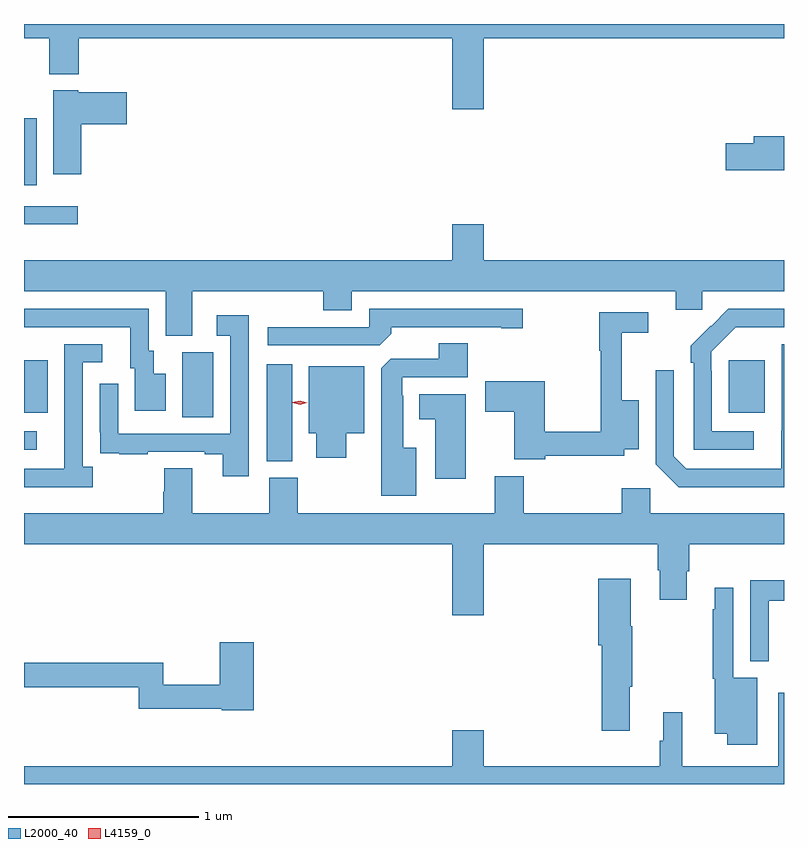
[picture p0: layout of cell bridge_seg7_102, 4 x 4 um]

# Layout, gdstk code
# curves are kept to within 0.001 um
import gdstk
lib = gdstk.Library(unit=1e-6, precision=1e-09)
def R(c, l, rs):  # rectangles x0, y0, x1, y1
    for r in rs: c.add(gdstk.rectangle(r[:2], r[2:], *l))
def P(c, l, *ps):  # polygons
    for p in ps: c.add(gdstk.Polygon(p, *l))
L2000_40 = (2000, 40)
L4159_0 = (4159, 0)

bridge_seg7_102 = lib.new_cell('bridge_seg7_102')
R(bridge_seg7_102, L2000_40, [(1063.13,1021.033,1063.264,1021.543), (1061.853,1021.095,1061.92,1021.191), (1062.686,1021.264,1062.85,1021.608), (1061.853,1021.289,1061.977,1021.564), (1065.563,1021.289,1065.751,1021.564), (1061.853,1022.28,1062.136,1022.376), (1061.853,1022.486,1061.92,1022.839)])
P(bridge_seg7_102, L2000_40, [(1064.272,1023.26),(1065.853,1023.26),(1065.853,1023.335),(1061.853,1023.335),(1061.853,1023.26),(1061.987,1023.26),(1061.987,1023.071),(1062.14,1023.071),(1062.14,1023.26),(1064.108,1023.26),(1064.108,1022.886),(1064.272,1022.886)],
  [(1062.155,1022.807),(1062.394,1022.807),(1062.394,1022.977),(1062.138,1022.977),(1062.138,1022.986),(1062.008,1022.986),(1062.008,1022.544),(1062.155,1022.544)],
  [(1065.853,1022.744),(1065.695,1022.744),(1065.695,1022.708),(1065.546,1022.708),(1065.546,1022.566),(1065.853,1022.566)],
  [(1062.739,1021.928),(1063.427,1021.928),(1063.427,1021.829),(1063.579,1021.829),(1063.579,1021.928),(1065.284,1021.928),(1065.284,1021.83),(1065.423,1021.83),(1065.423,1021.928),(1065.853,1021.928),(1065.853,1022.092),(1064.272,1022.092),(1064.272,1022.281),(1064.108,1022.281),(1064.108,1022.092),(1061.853,1022.092),(1061.853,1021.928),(1062.599,1021.928),(1062.599,1021.693),(1062.739,1021.693)],
  [(1062.598,1021.495),(1062.535,1021.495),(1062.535,1021.614),(1062.51,1021.614),(1062.51,1021.836),(1061.853,1021.836),(1061.853,1021.74),(1062.413,1021.74),(1062.413,1021.524),(1062.437,1021.524),(1062.437,1021.299),(1062.598,1021.299)],
  [(1065.694,1021.191),(1065.474,1021.191),(1065.474,1021.511),(1065.471,1021.511),(1065.471,1021.611),(1065.6,1021.74),(1065.853,1021.74),(1065.853,1021.836),(1065.56,1021.836),(1065.363,1021.641),(1065.363,1021.553),(1065.378,1021.553),(1065.378,1021.095),(1065.694,1021.095)],
  [(1063.787,1021.706),(1063.787,1021.74),(1064.366,1021.74),(1064.366,1021.735),(1064.479,1021.735),(1064.479,1021.836),(1063.671,1021.836),(1063.671,1021.74),(1063.137,1021.74),(1063.137,1021.644),(1063.725,1021.644)],
  [(1064.597,1021.062),(1065.012,1021.062),(1065.012,1021.097),(1065.088,1021.097),(1065.088,1021.354),(1064.999,1021.354),(1064.999,1021.71),(1065.139,1021.71),(1065.139,1021.818),(1064.881,1021.818),(1064.881,1021.615),(1064.889,1021.615),(1064.889,1021.19),(1064.595,1021.19),(1064.595,1021.456),(1064.28,1021.456),(1064.28,1021.294),(1064.432,1021.294),(1064.432,1021.043),(1064.597,1021.043)],
  [(1063.035,1021.801),(1062.867,1021.801),(1062.867,1021.695),(1062.939,1021.695),(1062.939,1021.179),(1062.348,1021.179),(1062.348,1021.441),(1062.252,1021.441),(1062.252,1021.186),(1062.253,1021.186),(1062.253,1021.077),(1062.355,1021.077),(1062.355,1021.071),(1062.503,1021.071),(1062.503,1021.083),(1062.803,1021.083),(1062.803,1021.071),(1062.899,1021.071),(1062.899,1020.954),(1063.035,1020.954)],
  [(1063.918,1021.105),(1063.849,1021.105),(1063.849,1021.379),(1063.845,1021.379),(1063.845,1021.476),(1064.189,1021.476),(1064.189,1021.655),(1064.036,1021.655),(1064.036,1021.572),(1063.782,1021.572),(1063.733,1021.523),(1063.733,1020.851),(1063.918,1020.851)],
  [(1062.214,1021.006),(1062.162,1021.006),(1062.162,1021.554),(1062.265,1021.554),(1062.265,1021.65),(1062.066,1021.65),(1062.066,1021.193),(1062.065,1021.193),(1062.065,1020.993),(1061.853,1020.993),(1061.853,1020.896),(1062.214,1020.896)],
  [(1065.853,1021.65),(1065.84,1021.65),(1065.84,1021.193),(1065.839,1021.193),(1065.839,1020.993),(1065.339,1020.993),(1065.273,1021.059),(1065.273,1021.513),(1065.177,1021.513),(1065.177,1021.017),(1065.298,1020.896),(1065.853,1020.896)],
  [(1063.549,1021.181),(1063.645,1021.181),(1063.645,1021.534),(1063.352,1021.534),(1063.352,1021.181),(1063.391,1021.181),(1063.391,1021.053),(1063.549,1021.053)],
  [(1064.179,1021.387),(1063.934,1021.387),(1063.934,1021.256),(1064.018,1021.256),(1064.018,1020.942),(1064.179,1020.942)],
  [(1064.272,1020.596),(1065.188,1020.596),(1065.188,1020.459),(1065.2,1020.459),(1065.2,1020.306),(1065.34,1020.306),(1065.34,1020.454),(1065.353,1020.454),(1065.353,1020.596),(1065.853,1020.596),(1065.853,1020.76),(1065.15,1020.76),(1065.15,1020.892),(1064.999,1020.892),(1064.999,1020.76),(1064.483,1020.76),(1064.483,1020.955),(1064.33,1020.955),(1064.33,1020.76),(1063.293,1020.76),(1063.293,1020.948),(1063.145,1020.948),(1063.145,1020.76),(1062.739,1020.76),(1062.739,1020.998),(1062.592,1020.998),(1062.592,1020.873),(1062.587,1020.873),(1062.587,1020.76),(1061.853,1020.76),(1061.853,1020.596),(1064.108,1020.596),(1064.108,1020.222),(1064.272,1020.222)],
  [(1065.04,1019.847),(1065.054,1019.847),(1065.054,1020.166),(1065.046,1020.166),(1065.046,1020.415),(1064.876,1020.415),(1064.876,1020.066),(1064.894,1020.066),(1064.894,1019.616),(1065.04,1019.616)],
  [(1065.772,1020.3),(1065.853,1020.3),(1065.853,1020.408),(1065.675,1020.408),(1065.675,1019.982),(1065.772,1019.982)],
  [(1065.712,1019.893),(1065.585,1019.893),(1065.585,1020.367),(1065.488,1020.367),(1065.488,1020.254),(1065.477,1020.254),(1065.477,1019.889),(1065.488,1019.889),(1065.488,1019.6),(1065.554,1019.6),(1065.554,1019.541),(1065.712,1019.541)],
  [(1063.061,1020.082),(1062.883,1020.082),(1062.883,1019.858),(1062.586,1019.858),(1062.586,1019.972),(1061.853,1019.972),(1061.853,1019.844),(1062.457,1019.844),(1062.457,1019.73),(1062.894,1019.73),(1062.894,1019.722),(1063.061,1019.722)],
  [(1065.853,1019.815),(1065.822,1019.815),(1065.822,1019.428),(1065.318,1019.428),(1065.318,1019.713),(1065.218,1019.713),(1065.218,1019.562),(1065.199,1019.562),(1065.199,1019.428),(1064.272,1019.428),(1064.272,1019.617),(1064.108,1019.617),(1064.108,1019.428),(1061.853,1019.428),(1061.853,1019.335),(1065.853,1019.335)])
P(bridge_seg7_102, L4159_0, [(1063.306,1021.332),(1063.266,1021.342),(1063.266,1021.343),(1063.266,1021.343),(1063.306,1021.352),(1063.345,1021.342),(1063.345,1021.342),(1063.345,1021.342)])

lib.write_gds('bridge_seg7_102.gds')
